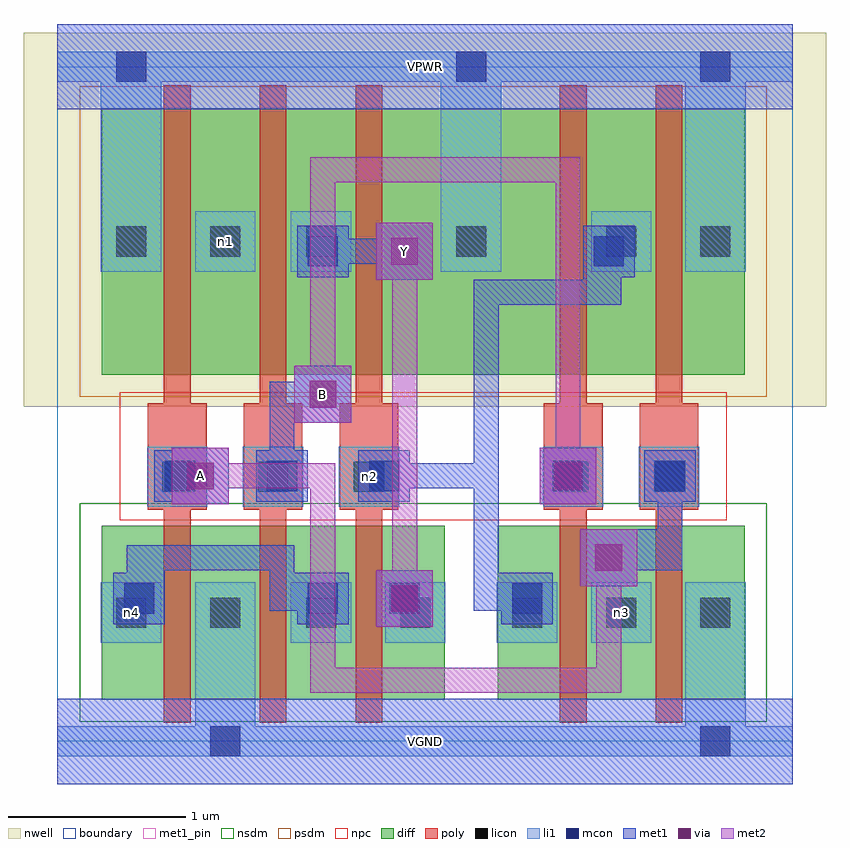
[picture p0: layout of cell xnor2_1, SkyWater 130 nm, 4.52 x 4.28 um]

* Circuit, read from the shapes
.subckt xnor2_1 A B VGND VPWR Y n1 n2 n3 n4
XM1 VGND A n4 VSUBS sky130_fd_pr__nfet_01v8 w=0.98 l=0.15
XM2 n4 B VGND VSUBS sky130_fd_pr__nfet_01v8 w=0.98 l=0.15
XM3 Y n2 n4 VSUBS sky130_fd_pr__nfet_01v8 w=0.98 l=0.15
XM4 n3 B n2 VSUBS sky130_fd_pr__nfet_01v8 w=0.98 l=0.15
XM5 VGND A n3 VSUBS sky130_fd_pr__nfet_01v8 w=0.98 l=0.15
XM6 n1 A VPWR n5 sky130_fd_pr__pfet_01v8 w=1.5 l=0.15
XM7 Y B n1 n5 sky130_fd_pr__pfet_01v8 w=1.5 l=0.15
XM8 VPWR n2 Y n5 sky130_fd_pr__pfet_01v8 w=1.5 l=0.15
XM9 n2 B VPWR n5 sky130_fd_pr__pfet_01v8 w=1.5 l=0.15
XM10 VPWR A n2 n5 sky130_fd_pr__pfet_01v8 w=1.5 l=0.15
.ends

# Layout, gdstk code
import gdstk
lib = gdstk.Library(unit=1e-6, precision=1e-09)
def R(c, l, rs):  # rectangles x0, y0, x1, y1
    for r in rs: c.add(gdstk.rectangle(r[:2], r[2:], *l))
def A(c, l, x, y, w, h, nx, ny, dx, dy):  # array of equal rectangles
    R(c, l, [(x+i*dx, y+j*dy, x+i*dx+w, y+j*dy+h) for i in range(nx) for j in range(ny)])
nwell = (64, 20)
diff = (65, 20)
poly = (66, 20)
licon = (66, 44)
li1 = (67, 20)
mcon = (67, 44)
met1_pin = (68, 16)
met1 = (68, 20)
via = (68, 44)
met2 = (69, 20)
nsdm = (93, 44)
psdm = (94, 20)
npc = (95, 20)
boundary = (235, 4)

xnor2_1 = lib.new_cell('xnor2_1')
R(xnor2_1, nwell, [(-0.19,1.885,4.33,3.99), (0,1.885,4.14,3.99)])
R(xnor2_1, diff, [(0.25,0.235,2.18,1.215), (2.48,0.235,3.87,1.215), (0.25,2.065,3.87,3.565)])
A(xnor2_1, poly, 0.6, 0.105, 0.15, 3.59, 3, 1, 0.54, 0)
A(xnor2_1, poly, 0.51, 1.305, 0.33, 0.6, 3, 1, 0.54, 0)
R(xnor2_1, poly, [(2.83,0.105,2.98,3.695), (3.37,0.105,3.52,3.695), (2.74,1.305,3.07,1.905), (3.28,1.305,3.61,1.905)])
A(xnor2_1, licon, 2.56, 0.64, 0.17, 0.17, 3, 1, 0.53, 0)
A(xnor2_1, licon, 0.59, 1.405, 0.17, 0.17, 3, 1, 0.54, 0)
A(xnor2_1, licon, 1.4, 2.73, 0.17, 0.17, 3, 1, 0.845, 0)
R(xnor2_1, licon, [(0.33,0.64,0.5,0.81), (0.86,0.64,1.03,0.81), (1.4,0.64,1.57,0.81), (1.93,0.64,2.1,0.81), (2.82,1.405,2.99,1.575), (3.36,1.405,3.53,1.575), (0.33,2.73,0.5,2.9), (0.86,2.73,1.03,2.9), (3.62,2.73,3.79,2.9)])
A(xnor2_1, li1, 0.505, 1.32, 0.34, 0.34, 3, 1, 0.54, 0)
R(xnor2_1, li1, [(0,-0.085,4.14,0.085), (0.775,-0.085,1.115,0.895), (3.535,-0.085,3.875,0.895), (0.245,0.555,0.585,0.895), (1.315,0.555,1.655,0.895), (1.845,0.555,2.185,0.895), (2.475,0.555,2.815,0.895), (3.005,0.555,3.345,0.895), (2.735,1.32,3.075,1.66), (3.275,1.32,3.615,1.66), (0.245,2.645,0.585,3.885), (0.775,2.645,1.115,2.985), (1.315,2.645,1.655,2.985), (2.16,2.645,2.5,3.885), (3.005,2.645,3.345,2.985), (3.535,2.645,3.875,3.885), (0,3.715,4.14,3.885)])
A(xnor2_1, mcon, 0.605, 1.41, 0.17, 0.17, 3, 1, 0.575, 0)
R(xnor2_1, mcon, [(0.86,-0.085,1.03,0.085), (3.62,-0.085,3.79,0.085), (0.375,0.72,0.545,0.89), (1.41,0.72,1.58,0.89), (1.87,0.72,2.04,0.89), (2.56,0.72,2.73,0.89), (2.79,1.41,2.96,1.58), (3.365,1.41,3.535,1.58), (1.41,2.675,1.58,2.845), (3.02,2.675,3.19,2.845), (0.33,3.715,0.5,3.885), (2.245,3.715,2.415,3.885), (3.62,3.715,3.79,3.885)])
R(xnor2_1, met1_pin, [(0,-0.24,4.14,0.24), (0.645,1.335,0.965,1.655), (1.335,1.795,1.655,2.115), (1.795,2.6,2.115,2.92), (0,3.56,4.14,4.04)])
A(xnor2_1, met1, 0.545, 1.35, 0.29, 0.29, 3, 1, 0.575, 0)
R(xnor2_1, met1, [(0,-0.24,4.14,0.24), (1.795,0.645,2.115,0.965), (0.315,0.66,0.605,0.95), (1.35,0.66,1.64,0.95), (1.81,0.66,2.1,0.95), (2.5,0.66,2.79,0.95), (0.39,0.735,0.53,1.105), (1.195,0.735,1.565,0.875), (1.195,0.735,1.335,1.105), (1.335,0.735,1.35,0.95), (2.345,0.735,2.485,1.565), (2.345,0.735,2.715,0.875), (2.485,0.735,2.5,0.95), (2.945,0.875,3.265,1.195), (0.39,0.95,0.605,0.965), (0.39,0.965,1.335,1.105), (3.035,0.965,3.52,1.105), (3.265,0.965,3.38,1.195), (3.38,0.965,3.52,1.565), (0.645,1.335,0.965,1.655), (2.715,1.335,3.035,1.655), (2.73,1.35,3.02,1.64), (3.305,1.35,3.595,1.64), (0.62,1.425,0.875,1.565), (1.195,1.425,1.335,2.025), (1.77,1.425,2.485,1.565), (2.345,1.425,2.485,2.6), (1.335,1.795,1.655,2.115), (1.195,1.885,1.565,2.025), (2.345,2.46,3.175,2.6), (3.035,2.46,3.175,2.83), (1.795,2.6,2.115,2.92), (2.96,2.6,3.175,2.615), (1.35,2.615,1.64,2.905), (2.96,2.615,3.25,2.905), (1.425,2.69,2.025,2.83), (0,3.56,4.14,4.04)])
R(xnor2_1, via, [(1.88,0.73,2.03,0.88), (3.03,0.96,3.18,1.11), (0.73,1.42,0.88,1.57), (2.8,1.42,2.95,1.57), (1.42,1.88,1.57,2.03), (1.88,2.685,2.03,2.835)])
R(xnor2_1, met2, [(1.425,0.275,1.565,1.565), (1.425,0.275,3.175,0.415), (3.035,0.275,3.175,1.105), (1.795,0.645,2.115,0.965), (1.885,0.735,2.025,2.83), (2.945,0.875,3.265,1.195), (0.645,1.335,0.965,1.655), (2.715,1.335,3.035,1.655), (0.735,1.425,1.565,1.565), (2.805,1.425,2.945,3.29), (1.335,1.795,1.655,2.115), (1.425,1.885,1.565,3.29), (1.795,2.6,2.115,2.92), (1.425,3.15,2.945,3.29)])
R(xnor2_1, nsdm, [(0.125,0.11,3.995,1.34)])
R(xnor2_1, psdm, [(0.125,1.94,3.995,3.69)])
R(xnor2_1, npc, [(0.35,1.245,3.77,1.965)])
R(xnor2_1, boundary, [(0,0,4.14,3.8)])
xnor2_1.add(gdstk.Label('n2', (1.755,1.49), layer=67, texttype=5))
xnor2_1.add(gdstk.Label('n4', (0.415,0.725), layer=67, texttype=5))
xnor2_1.add(gdstk.Label('n3', (3.175,0.725), layer=67, texttype=5))
xnor2_1.add(gdstk.Label('n1', (0.945,2.815), layer=67, texttype=5))
xnor2_1.add(gdstk.Label('A', (0.805,1.495), layer=68, texttype=5))
xnor2_1.add(gdstk.Label('B', (1.495,1.955), layer=68, texttype=5))
xnor2_1.add(gdstk.Label('Y', (1.955,2.76), layer=68, texttype=5))
xnor2_1.add(gdstk.Label('VPWR', (2.07,3.8), layer=68, texttype=5))
xnor2_1.add(gdstk.Label('VGND', (2.07,0), layer=68, texttype=5))
xnor2_1.add(gdstk.Label('A', (0.805,1.495), layer=68, texttype=16))
xnor2_1.add(gdstk.Label('B', (1.495,1.955), layer=68, texttype=16))
xnor2_1.add(gdstk.Label('Y', (1.955,2.76), layer=68, texttype=16))
xnor2_1.add(gdstk.Label('VPWR', (2.07,3.8), layer=68, texttype=16))
xnor2_1.add(gdstk.Label('VGND', (2.07,0), layer=68, texttype=16))

lib.write_gds('xnor2_1.gds')
